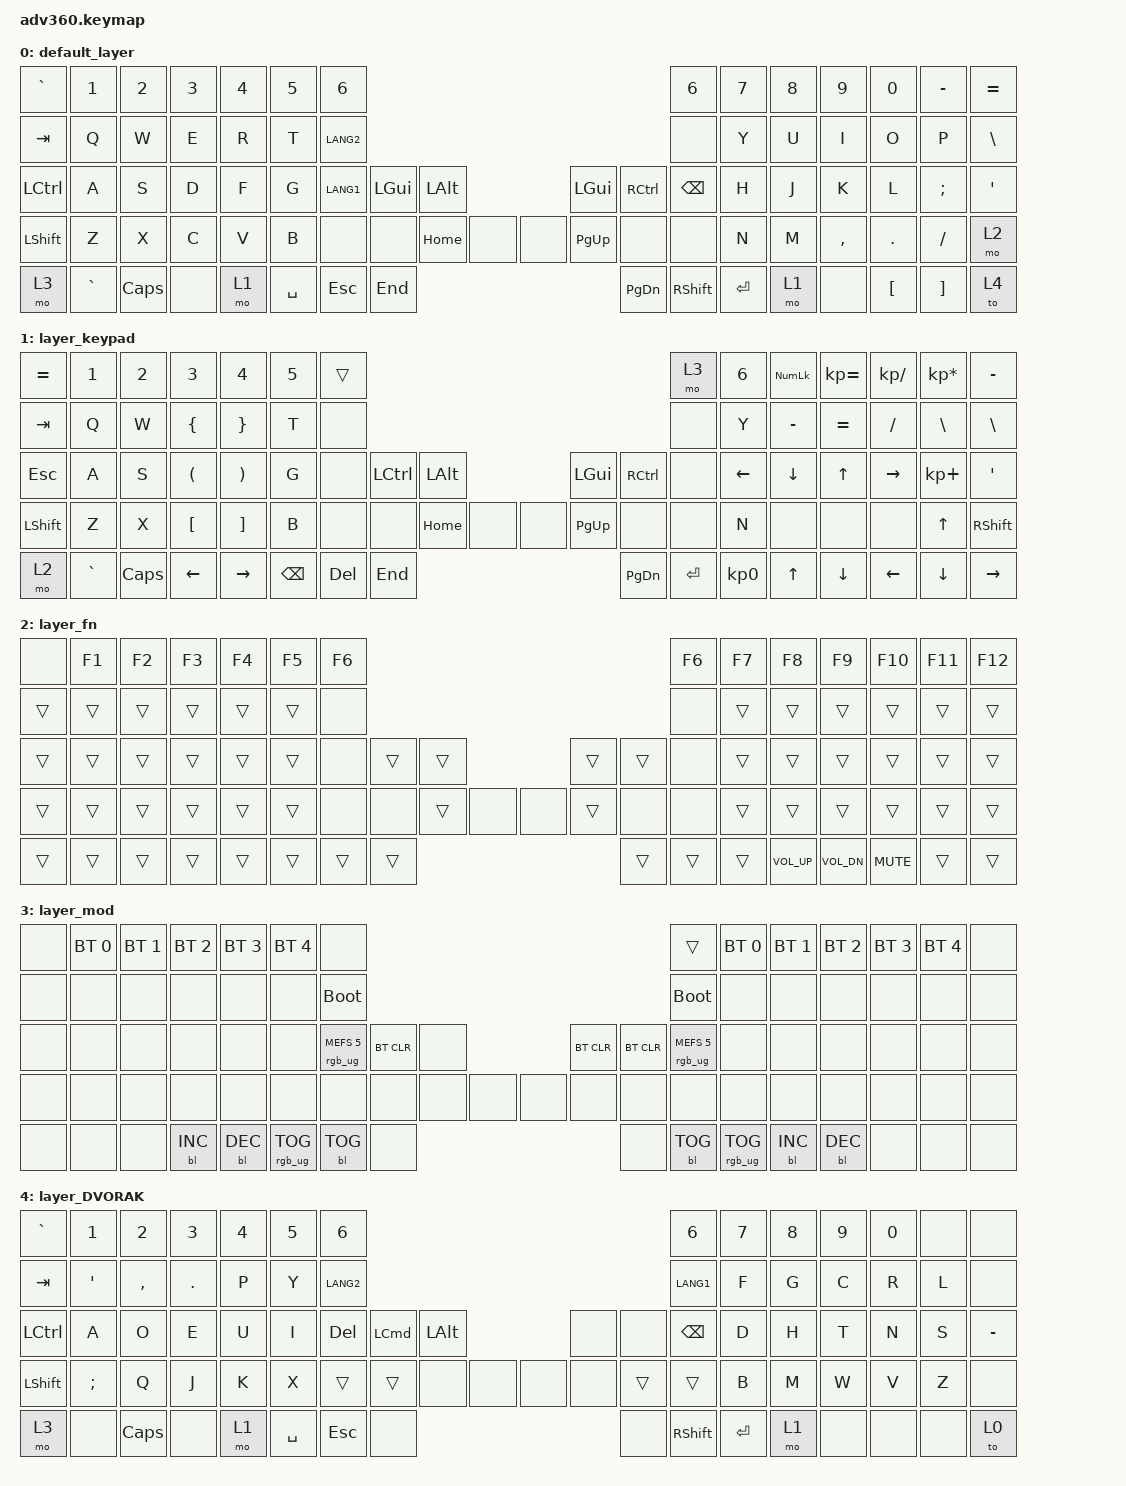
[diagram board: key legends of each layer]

/*
 * Copyright (c) 2020 The ZMK Contributors
 *
 * SPDX-License-Identifier: MIT
 */


/* THIS FILE WAS GENERATED!
 *
 * This file was generated automatically. You may or may not want to
 * edit it directly.
 */

#include <behaviors.dtsi>
#include <dt-bindings/zmk/keys.h>
#include <dt-bindings/zmk/bt.h>
#include <dt-bindings/zmk/rgb.h>
#include <dt-bindings/zmk/backlight.h>

/ {
  behaviors {
    #include "macros.dtsi"
    #include "version.dtsi"

    hm: homerow_mods {
        compatible = "zmk,behavior-hold-tap";
        label = "HOMEROW_MODS";
        #binding-cells = <2>;
        tapping-term-ms = <200>;
        quick_tap_ms = <175>;
        flavor = "tap-preferred";
        bindings = <&kp>, <&kp>;
    };
  };

    keymap {
        compatible = "zmk,keymap";


        default_layer {
            bindings = <
        &kp GRAVE     &kp N1    &kp N2  &kp N3  &kp N4  &kp N5               &kp N6                                                                             &kp N6  &kp N7  &kp N8     &kp N9    &kp N0  &kp MINUS  &kp EQUAL
          &kp TAB      &kp Q     &kp W   &kp E   &kp R   &kp T            &kp LANG2                                                                              &none   &kp Y   &kp U      &kp I     &kp O      &kp P   &kp BSLH
 &kp LEFT_CONTROL      &kp A     &kp S   &kp D   &kp F   &kp G            &kp LANG1  &kp LEFT_GUI  &kp LALT                   &kp LGUI        &kp RCTRL  &kp BACKSPACE   &kp H   &kp J      &kp K     &kp L   &kp SEMI    &kp SQT
        &kp LSHFT      &kp Z     &kp X   &kp C   &kp V   &kp B                &none         &none  &kp HOME   &none   &none  &kp PG_UP            &none          &none   &kp N   &kp M  &kp COMMA   &kp DOT   &kp FSLH      &mo 2
            &mo 3  &kp GRAVE  &kp CAPS   &none   &mo 1                    &kp SPACE    &kp ESCAPE   &kp END                  &kp PG_DN  &kp RIGHT_SHIFT        &kp RET           &mo 1      &none  &kp LBKT   &kp RBKT      &to 4
            >;
        };

        layer_keypad {
            bindings = <
 &kp EQUAL     &kp N1    &kp N2                &kp N3                 &kp N4  &kp N5              &trans                                                                 &mo 3          &kp N6      &kp KP_NUM  &kp KP_EQUAL    &kp KP_DIVIDE  &kp KP_MULTIPLY  &kp MINUS
   &kp TAB      &kp Q     &kp W        &kp LEFT_BRACE        &kp RIGHT_BRACE   &kp T               &none                                                                 &none           &kp Y       &kp MINUS     &kp EQUAL        &kp SLASH    &kp BACKSLASH   &kp BSLH
   &kp ESC      &kp A     &kp S  &kp LEFT_PARENTHESIS  &kp RIGHT_PARENTHESIS   &kp G               &none  &kp LCTRL  &kp LALT                   &kp LGUI  &kp RCTRL      &none  &kp LEFT_ARROW  &kp DOWN_ARROW  &kp UP_ARROW  &kp RIGHT_ARROW      &kp KP_PLUS    &kp SQT
 &kp LSHFT      &kp Z     &kp X      &kp LEFT_BRACKET      &kp RIGHT_BRACKET   &kp B               &none      &none  &kp HOME   &none   &none  &kp PG_UP      &none      &none           &kp N           &none         &none            &none           &kp UP  &kp RSHFT
     &mo 2  &kp GRAVE  &kp CAPS              &kp LEFT              &kp RIGHT                    &kp BSPC    &kp DEL   &kp END                  &kp PG_DN  &kp ENTER  &kp KP_N0                          &kp UP      &kp DOWN         &kp LEFT         &kp DOWN  &kp RIGHT
            >;
        };

        layer_fn {
            bindings = <
  &none  &kp F1  &kp F2  &kp F3  &kp F4  &kp F5            &kp F6                                                  &kp F6  &kp F7        &kp F8        &kp F9     &kp F10  &kp F11  &kp F12
 &trans  &trans  &trans  &trans  &trans  &trans             &none                                                   &none  &trans        &trans        &trans      &trans   &trans   &trans
 &trans  &trans  &trans  &trans  &trans  &trans             &none  &trans  &trans                  &trans  &trans   &none  &trans        &trans        &trans      &trans   &trans   &trans
 &trans  &trans  &trans  &trans  &trans  &trans             &none   &none  &trans   &none   &none  &trans   &none   &none  &trans        &trans        &trans      &trans   &trans   &trans
 &trans  &trans  &trans  &trans  &trans                    &trans  &trans  &trans                  &trans  &trans  &trans          &kp C_VOL_UP  &kp C_VOL_DN  &kp C_MUTE   &trans   &trans
            >;
        };

        layer_mod {
            bindings = <
  &none  &bt BT_SEL 0  &bt BT_SEL 1  &bt BT_SEL 2  &bt BT_SEL 3  &bt BT_SEL 4                             &none                                                                              &trans  &bt BT_SEL 0  &bt BT_SEL 1  &bt BT_SEL 2  &bt BT_SEL 3  &bt BT_SEL 4   &none
  &none         &none         &none         &none         &none         &none                       &bootloader                                                                         &bootloader         &none         &none         &none         &none         &none   &none
  &none         &none         &none         &none         &none         &none            &rgb_ug RGB_MEFS_CMD 5  &bt BT_CLR   &none                  &bt BT_CLR  &bt BT_CLR  &rgb_ug RGB_MEFS_CMD 5         &none         &none         &none         &none         &none   &none
  &none         &none         &none         &none         &none         &none                             &none       &none   &none   &none   &none       &none       &none                   &none         &none         &none         &none         &none         &none   &none
  &none         &none         &none    &bl BL_INC    &bl BL_DEC                                 &rgb_ug RGB_TOG  &bl BL_TOG   &none                       &none  &bl BL_TOG         &rgb_ug RGB_TOG                  &bl BL_INC    &bl BL_DEC         &none         &none   &none
            >;
        };

        layer_DVORAK {
            bindings = <
      &kp GRAVE          &kp N1     &kp N2      &kp N3  &kp N4  &kp N5                &kp N6                                                                                  &kp N6  &kp N7  &kp N8  &kp N9  &kp N0   &none      &none
        &kp TAB  &kp APOSTROPHE  &kp COMMA  &kp PERIOD   &kp P   &kp Y             &kp LANG2                                                                               &kp LANG1   &kp F   &kp G   &kp C   &kp R   &kp L      &none
      &kp LCTRL           &kp A      &kp O       &kp E   &kp U   &kp I            &kp DELETE  &kp LEFT_COMMAND  &kp LEFT_ALT                   &none            &none  &kp BACKSPACE   &kp D   &kp H   &kp T   &kp N   &kp S  &kp MINUS
 &kp LEFT_SHIFT   &kp SEMICOLON      &kp Q       &kp J   &kp K   &kp X                &trans            &trans         &none   &none   &none   &none           &trans         &trans   &kp B   &kp M   &kp W   &kp V   &kp Z      &none
          &mo 3           &none   &kp CAPS       &none   &mo 1                     &kp SPACE        &kp ESCAPE         &none                   &none  &kp RIGHT_SHIFT     &kp RETURN           &mo 1   &none   &none   &none      &to 0
            >;
        };

    };
};
